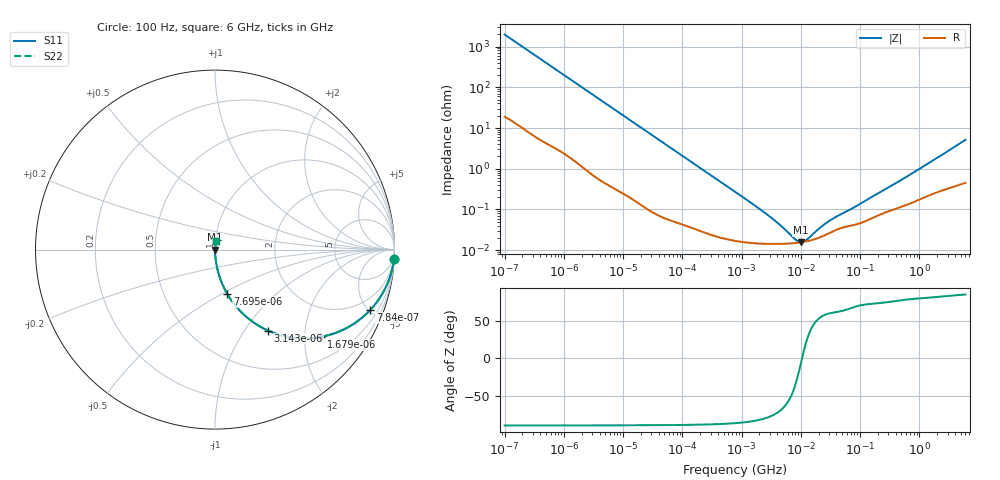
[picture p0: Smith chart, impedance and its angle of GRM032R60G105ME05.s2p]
!Murata Part Number: GRM032R60G105ME05
!These Parameters are Measured in Series Mode Connection
!Data Generated on Mar 30, 2021
!  o--ll--o
!Port1  Port2
!  o------o
!Operation Temp=25[degC], DC Bias Voltage=0[V]
!Freq. Start=100[Hz] Stop=6[GHz] 401[Steps]
# Hz S RI R 50
!Freq.(Hz) S11(Real) S11(Imag) S21(Real) S21(Imag) S12(Real) S12(Imag) S22(Real) S22(Imag)
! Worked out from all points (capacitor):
!   401 points, 100 Hz to 6 GHz, reference 50 ohm
!   read as one part in series: C = 802 nF near 109 Hz
!   lowest |Z| = 15.7 mohm at 9.942 MHz (marker M1)
!   series resonance near 10.49 MHz, so ESL is about 290 pH
!   S11 on the Smith chart (normalised r, x): 100 Hz: 1, -40; 784 Hz: 1.06, -5.12; 1.679 kHz: 1.03, -2.41; 3.143 kHz: 1.01, -1.29; 7.695 kHz: 1.01, -0.53; 6 GHz: 1.01, +0.10
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100  0.997 -0.0504  0.00302 0.0504  0.00302 0.0504  0.997 -0.0504
293  0.9775 -0.1434  0.0225 0.1434  0.0225 0.1434  0.9775 -0.1434
501  0.9387 -0.2346  0.0613 0.2346  0.0613 0.2346  0.9387 -0.2346
784  0.8647 -0.3364  0.1353 0.3364  0.1353 0.3364  0.8647 -0.3364
1122  0.7603 -0.421  0.2397 0.421  0.2397 0.421  0.7603 -0.421
1679  0.5905 -0.4861  0.4095 0.4861  0.4095 0.4861  0.5905 -0.4861
2008  0.5036 -0.4945  0.4964 0.4945  0.4964 0.4945  0.5036 -0.4945
3143  0.2961 -0.4513  0.7039 0.4513  0.7039 0.4513  0.2961 -0.4513
4918  0.1486 -0.3504  0.8514 0.3504  0.8514 0.3504  0.1486 -0.3504
7695  0.0681 -0.2462  0.9319 0.2462  0.9319 0.2462  0.0681 -0.2462
16473  0.0168 -0.1223  0.9832 0.1223  0.9832 0.1223  0.0168 -0.1223
40335  0.0033 -0.0509  0.9967 0.0509  0.9967 0.0509  0.0033 -0.0509
774597  0.000177 -0.00272  0.9998 0.00272  0.9998 0.00272  0.000177 -0.00272
2837864  0.000143 -0.000696  0.9999 0.000696  0.9999 0.000696  0.000143 -0.000696
7947587  0.00015 -0.000113  0.9999 0.000113  0.9999 0.000113  0.00015 -0.000113
9941735  0.000155 -2.14e-05  0.9998 2.14e-05  0.9998 2.14e-05  0.000155 -2.14e-05
1.189169e7  0.000162 5.03e-05  0.9998 -5.03e-05  0.9998 -5.03e-05  0.000162 5.03e-05
1.555665e7  0.000178 0.000159  0.9998 -0.000159  0.9998 -0.000159  0.000178 0.000159
2.327686e7  0.000221 0.000332  0.9998 -0.000332  0.9998 -0.000332  0.000221 0.000332
3.330331e7  0.000282 0.000499  0.9997 -0.000499  0.9997 -0.000499  0.000282 0.000499
3.124326e8  0.000928 0.00344  0.9991 -0.00344  0.9991 -0.00344  0.000928 0.00344
6e9  0.00705 0.0505  0.9929 -0.0505  0.9929 -0.0505  0.00705 0.0505
